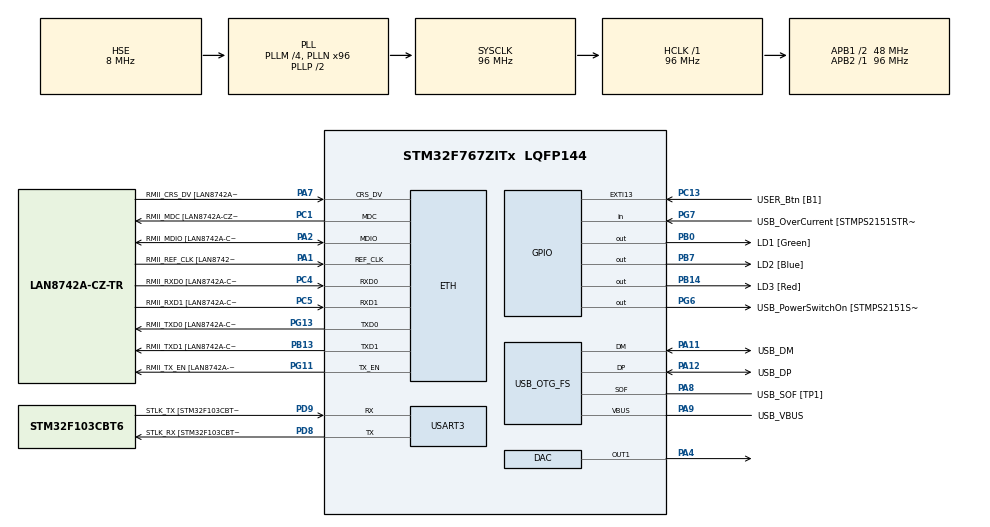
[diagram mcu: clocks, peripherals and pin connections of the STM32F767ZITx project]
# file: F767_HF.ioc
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CORTEX_M7.default_mode_Activation=1
DAC.DAC_Trigger=DAC_TRIGGER_T6_TRGO
Dma.DAC1.0.Direction=DMA_MEMORY_TO_PERIPH
Dma.DAC1.0.FIFOMode=DMA_FIFOMODE_DISABLE
Dma.DAC1.0.Instance=DMA1_Stream5
Dma.DAC1.0.MemDataAlignment=DMA_MDATAALIGN_HALFWORD
Dma.DAC1.0.MemInc=DMA_MINC_ENABLE
Dma.DAC1.0.Mode=DMA_CIRCULAR
Dma.DAC1.0.PeriphDataAlignment=DMA_PDATAALIGN_HALFWORD
Dma.DAC1.0.PeriphInc=DMA_PINC_DISABLE
Dma.DAC1.0.Priority=DMA_PRIORITY_LOW
Dma.Request0=DAC1
ETH.MediaInterface=HAL_ETH_RMII_MODE
ETH.PHY_Name=LAN8742A_PHY_ADDRESS
ETH.PHY_Value=0
ETH.PhyAddress=0
Mcu.Family=STM32F7
Mcu.Name=STM32F767ZITx
Mcu.Package=LQFP144
NVIC.DMA1_Stream5_IRQn=true\:0\:0\:false\:false\:true\:false\:true\:true
NVIC.PriorityGroup=NVIC_PRIORITYGROUP_4
PA1.GPIO_Label=RMII_REF_CLK [LAN8742A-CZ-TR_REFCLK0]
PA1.Mode=RMII
PA1.Signal=ETH_REF_CLK
PA10.GPIO_Label=USB_ID
PA10.Signal=USB_OTG_FS_ID
PA11.GPIO_Label=USB_DM
PA11.Mode=Device_Only
PA11.Signal=USB_OTG_FS_DM
PA12.GPIO_Label=USB_DP
PA12.Mode=Device_Only
PA12.Signal=USB_OTG_FS_DP
PA13.GPIO_Label=TMS
PA13.Mode=Serial_Wire
PA13.Signal=SYS_JTMS-SWDIO
PA14.GPIO_Label=TCK
PA14.Mode=Serial_Wire
PA14.Signal=SYS_JTCK-SWCLK
PA2.GPIO_Label=RMII_MDIO [LAN8742A-CZ-TR_MDIO]
PA2.Mode=RMII
PA2.Signal=ETH_MDIO
PA4.Signal=COMP_DAC1_group
PA7.GPIO_Label=RMII_CRS_DV [LAN8742A-CZ-TR_CRS_DV]
PA7.Mode=RMII
PA7.Signal=ETH_CRS_DV
PA8.GPIO_Label=USB_SOF [TP1]
PA8.Mode=Activate_SOF_FS
PA8.Signal=USB_OTG_FS_SOF
PA9.GPIO_Label=USB_VBUS
PA9.Mode=Activate_VBUS
PA9.Signal=USB_OTG_FS_VBUS
PB0.GPIO_Label=LD1 [Green]
PB0.Signal=GPIO_Output
PB13.GPIO_Label=RMII_TXD1 [LAN8742A-CZ-TR_TXD1]
PB13.Mode=RMII
PB13.Signal=ETH_TXD1
PB14.GPIO_Label=LD3 [Red]
PB14.Signal=GPIO_Output
PB3.GPIO_Label=SWO
PB3.Signal=SYS_JTDO-SWO
PB7.GPIO_Label=LD2 [Blue]
PB7.Signal=GPIO_Output
PC1.GPIO_Label=RMII_MDC [LAN8742A-CZ-TR_MDC]
PC1.Mode=RMII
PC1.Signal=ETH_MDC
PC13.GPIO_Label=USER_Btn [B1]
PC13.Signal=GPXTI13
PC14/OSC32_IN.Mode=LSE-External-Oscillator
PC14/OSC32_IN.Signal=RCC_OSC32_IN
PC15/OSC32_OUT.Mode=LSE-External-Oscillator
PC15/OSC32_OUT.Signal=RCC_OSC32_OUT
PC4.GPIO_Label=RMII_RXD0 [LAN8742A-CZ-TR_RXD0]
PC4.Mode=RMII
PC4.Signal=ETH_RXD0
PC5.GPIO_Label=RMII_RXD1 [LAN8742A-CZ-TR_RXD1]
PC5.Mode=RMII
PC5.Signal=ETH_RXD1
PD8.GPIO_Label=STLK_RX [STM32F103CBT6_PA3]
PD8.Mode=Asynchronous
PD8.Signal=USART3_TX
PD9.GPIO_Label=STLK_TX [STM32F103CBT6_PA2]
PD9.Mode=Asynchronous
PD9.Signal=USART3_RX
PG11.GPIO_Label=RMII_TX_EN [LAN8742A-CZ-TR_TXEN]
PG11.Mode=RMII
PG11.Signal=ETH_TX_EN
PG13.GPIO_Label=RMII_TXD0 [LAN8742A-CZ-TR_TXD0]
PG13.Mode=RMII
PG13.Signal=ETH_TXD0
PG6.GPIO_Label=USB_PowerSwitchOn [STMPS2151STR_EN]
PG6.Signal=GPIO_Output
PG7.GPIO_Label=USB_OverCurrent [STMPS2151STR_FAULT]
PG7.Signal=GPIO_Input
PH0/OSC_IN.GPIO_Label=MCO [STM32F103CBT6_PA8]
PH0/OSC_IN.Mode=HSE-External-Clock-Source
PH0/OSC_IN.Signal=RCC_OSC_IN
PH1/OSC_OUT.Mode=HSE-External-Clock-Source
PH1/OSC_OUT.Signal=RCC_OSC_OUT
ProjectManager.HeapSize=0x200
ProjectManager.StackSize=0x400
ProjectManager.TargetToolchain=STM32CubeIDE
RCC.48MHZClocksFreq_Value=24000000
RCC.AHBFreq_Value=96000000
RCC.APB1CLKDivider=RCC_HCLK_DIV2
RCC.APB1Freq_Value=48000000
RCC.APB1TimFreq_Value=96000000
RCC.APB2Freq_Value=96000000
RCC.APB2TimFreq_Value=96000000
RCC.CortexFreq_Value=96000000
RCC.HCLKFreq_Value=96000000
RCC.HSE_VALUE=8000000
RCC.HSI_VALUE=16000000
RCC.PLLM=4
RCC.PLLMUL=RCC_PLL_MUL9
RCC.PLLN=96
RCC.PLLQ=4
RCC.PRESCALERUSB=RCC_USBCLKSOURCE_PLL_DIV1_5
RCC.SYSCLKFreq_VALUE=96000000
RCC.SYSCLKSource=RCC_SYSCLKSOURCE_PLLCLK
RCC.SYSCLKSourceVirtual=RCC_SYSCLKSOURCE_PLLCLK
RCC.USBFreq_Value=48000000
RCC.VCOOutputFreq_Value=192000000
SH.COMP_DAC1_group.0=DAC_OUT1,DAC_OUT1
TIM6.TIM_MasterOutputTrigger=TIM_TRGO_UPDATE
USART3.VirtualMode-Asynchronous=VM_ASYNC
USB_OTG_FS.VirtualMode=Device_Only
VP_TIM6_VS_ClockSourceINT.Mode=Enable_Timer
board=NUCLEO-F767ZI

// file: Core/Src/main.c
/* USER CODE BEGIN Header */
/* F767_HF */
/**
  ******************************************************************************
  * @file           : main.c
  * @brief          : Main program body
  ******************************************************************************
  * @attention
  *
  * Copyright (c) 2026 STMicroelectronics.
  * All rights reserved.
  *
  * This software is licensed under terms that can be found in the LICENSE file
  * in the root directory of this software component.
  * If no LICENSE file comes with this software, it is provided AS-IS.
  *
  ******************************************************************************
  */
/* USER CODE END Header */
#include "main.h"
#include "string.h"

/* USER CODE BEGIN Includes */
#include <stdint.h>
/* USER CODE END Includes */

/* USER CODE BEGIN PD */
#define LUT_SIZE 64U
/* USER CODE END PD */

#if defined ( __ICCARM__ ) /*!< IAR Compiler */
#pragma location=0x2007c000
ETH_DMADescTypeDef  DMARxDscrTab[ETH_RX_DESC_CNT]; /* Ethernet Rx DMA Descriptors */
#pragma location=0x2007c0a0
ETH_DMADescTypeDef  DMATxDscrTab[ETH_TX_DESC_CNT]; /* Ethernet Tx DMA Descriptors */

#elif defined ( __CC_ARM )  /* MDK ARM Compiler */

__attribute__((at(0x2007c000))) ETH_DMADescTypeDef  DMARxDscrTab[ETH_RX_DESC_CNT]; /* Ethernet Rx DMA Descriptors */
__attribute__((at(0x2007c0a0))) ETH_DMADescTypeDef  DMATxDscrTab[ETH_TX_DESC_CNT]; /* Ethernet Tx DMA Descriptors */

#elif defined ( __GNUC__ ) /* GNU Compiler */

ETH_DMADescTypeDef DMARxDscrTab[ETH_RX_DESC_CNT] __attribute__((section(".RxDecripSection"))); /* Ethernet Rx DMA Descriptors */
ETH_DMADescTypeDef DMATxDscrTab[ETH_TX_DESC_CNT] __attribute__((section(".TxDecripSection")));   /* Ethernet Tx DMA Descriptors */
#endif

ETH_TxPacketConfig TxConfig;

DAC_HandleTypeDef hdac;
DMA_HandleTypeDef hdma_dac1;

ETH_HandleTypeDef heth;

TIM_HandleTypeDef htim6;

UART_HandleTypeDef huart3;

PCD_HandleTypeDef hpcd_USB_OTG_FS;

/* USER CODE BEGIN PV */
static uint32_t g_tone_hz = 46000U;   // <== change here to 30000/31000/45000/46000

// 64-point sine LUT (12-bit 0..4095), center at 2048
static const uint16_t sineLUT[LUT_SIZE] = {
  2048,2249,2447,2642,2831,3013,3185,3346,
  3495,3630,3750,3853,3939,4007,4056,4085,
  4095,4085,4056,4007,3939,3853,3750,3630,
  3495,3346,3185,3013,2831,2642,2447,2249,
  2048,1846,1648,1453,1264,1082, 910, 749,
   600, 465, 345, 242, 156,  88,  39,  10,
     0,  10,  39,  88, 156, 242, 345, 465,
   600, 749, 910,1082,1264,1453,1648,1846
};

static uint32_t tim6_clk_hz = 0;
/* USER CODE END PV */

void SystemClock_Config(void);
static void MPU_Config(void);
static void MX_GPIO_Init(void);
static void MX_DMA_Init(void);
static void MX_DAC_Init(void);
static void MX_ETH_Init(void);
static void MX_TIM6_Init(void);
static void MX_USART3_UART_Init(void);
static void MX_USB_OTG_FS_PCD_Init(void);

/* USER CODE BEGIN 0 */
static uint32_t get_tim6_clock_hz(void)
{
  // TIM6 on APB1
  uint32_t pclk1 = HAL_RCC_GetPCLK1Freq();
  uint32_t ppre1 = (RCC->CFGR >> RCC_CFGR_PPRE1_Pos) & 0x7U;

  // if APB1 prescaler != 1 => timer clk = 2*PCLK1
  if (ppre1 >= 4U) return pclk1 * 2U;
  else             return pclk1;
} // end function get_tim6_clock_hz

static void set_tone_freq_hz(uint32_t f_out_hz)
{
  // TIM6 update rate must be f_out * LUT_SIZE
  uint32_t targer_update = f_out_hz * LUT_SIZE;
  if (targer_update  == 0U || tim6_clk_hz == 0U) return;

  uint32_t div = tim6_clk_hz / targer_update;
  if (div == 0U) div = 1U;

  uint32_t arr = div - 1U;
  if (arr > 0xFFFFU) arr = 0xFFFFU;

  __HAL_TIM_SET_AUTORELOAD(&htim6 , (uint16_t)arr);
  __HAL_TIM_SET_COUNTER(&htim6 , 0U);
} // end function set_tone_freq_hz
/* USER CODE END 0 */

int main(void)
{

  /* MPU Configuration--------------------------------------------------------*/
  MPU_Config();

  /* MCU Configuration--------------------------------------------------------*/

  /* Reset of all peripherals, Initializes the Flash interface and the Systick. */
  HAL_Init();

  /* Configure the system clock */
  SystemClock_Config();

  /* Initialize all configured peripherals */
  MX_GPIO_Init();
  MX_DMA_Init();
  MX_DAC_Init();
  MX_ETH_Init();
  MX_TIM6_Init();
  MX_USART3_UART_Init();
  MX_USB_OTG_FS_PCD_Init();
  /* USER CODE BEGIN 2 */
  tim6_clk_hz = get_tim6_clock_hz();

  // Start DAC DMA (circular LUT)
  HAL_DAC_Start(&hdac , DAC1_CHANNEL_1);
  HAL_DAC_Start_DMA(&hdac , DAC1_CHANNEL_1 , (uint32_t*)sineLUT , LUT_SIZE , DAC_ALIGN_12B_R);

  // Set tone frequency and start TIM6 triggers
  set_tone_freq_hz(g_tone_hz);
  HAL_TIM_Base_Start(&htim6);
  /* USER CODE END 2 */

  /* Infinite loop */
  while (1)
  {

  }
}

void SystemClock_Config(void)
{
  RCC_OscInitTypeDef RCC_OscInitStruct = {0};
  RCC_ClkInitTypeDef RCC_ClkInitStruct = {0};

  /** Configure LSE Drive Capability
  */
  HAL_PWR_EnableBkUpAccess();

  /** Configure the main internal regulator output voltage
  */
  __HAL_RCC_PWR_CLK_ENABLE();
  __HAL_PWR_VOLTAGESCALING_CONFIG(PWR_REGULATOR_VOLTAGE_SCALE3);

  /** Initializes the RCC Oscillators according to the specified parameters
  * in the RCC_OscInitTypeDef structure.
  */
  RCC_OscInitStruct.OscillatorType = RCC_OSCILLATORTYPE_HSE;
  RCC_OscInitStruct.HSEState = RCC_HSE_BYPASS;
  RCC_OscInitStruct.PLL.PLLState = RCC_PLL_ON;
  RCC_OscInitStruct.PLL.PLLSource = RCC_PLLSOURCE_HSE;
  RCC_OscInitStruct.PLL.PLLM = 4;
  RCC_OscInitStruct.PLL.PLLN = 96;
  RCC_OscInitStruct.PLL.PLLP = RCC_PLLP_DIV2;
  RCC_OscInitStruct.PLL.PLLQ = 4;
  RCC_OscInitStruct.PLL.PLLR = 2;
  if (HAL_RCC_OscConfig(&RCC_OscInitStruct) != HAL_OK)
  {
    Error_Handler();
  }

  /** Activate the Over-Drive mode
  */
  if (HAL_PWREx_EnableOverDrive() != HAL_OK)
  {
    Error_Handler();
  }

  /** Initializes the CPU, AHB and APB buses clocks
  */
  RCC_ClkInitStruct.ClockType = RCC_CLOCKTYPE_HCLK|RCC_CLOCKTYPE_SYSCLK
                              |RCC_CLOCKTYPE_PCLK1|RCC_CLOCKTYPE_PCLK2;
  RCC_ClkInitStruct.SYSCLKSource = RCC_SYSCLKSOURCE_PLLCLK;
  RCC_ClkInitStruct.AHBCLKDivider = RCC_SYSCLK_DIV1;
  RCC_ClkInitStruct.APB1CLKDivider = RCC_HCLK_DIV2;
  RCC_ClkInitStruct.APB2CLKDivider = RCC_HCLK_DIV1;

  if (HAL_RCC_ClockConfig(&RCC_ClkInitStruct, FLASH_LATENCY_3) != HAL_OK)
  {
    Error_Handler();
  }
}

static void MX_DAC_Init(void)
{

  DAC_ChannelConfTypeDef sConfig = {0};

  /** DAC Initialization
  */
  hdac.Instance = DAC;
  if (HAL_DAC_Init(&hdac) != HAL_OK)
  {
    Error_Handler();
  }

  /** DAC channel OUT1 config
  */
  sConfig.DAC_Trigger = DAC_TRIGGER_T6_TRGO;
  sConfig.DAC_OutputBuffer = DAC_OUTPUTBUFFER_ENABLE;
  if (HAL_DAC_ConfigChannel(&hdac, &sConfig, DAC_CHANNEL_1) != HAL_OK)
  {
    Error_Handler();
  }

}

static void MX_ETH_Init(void)
{

   static uint8_t MACAddr[6];

  heth.Instance = ETH;
  MACAddr[0] = 0x00;
  MACAddr[1] = 0x80;
  MACAddr[2] = 0xE1;
  MACAddr[3] = 0x00;
  MACAddr[4] = 0x00;
  MACAddr[5] = 0x00;
  heth.Init.MACAddr = &MACAddr[0];
  heth.Init.MediaInterface = HAL_ETH_RMII_MODE;
  heth.Init.TxDesc = DMATxDscrTab;
  heth.Init.RxDesc = DMARxDscrTab;
  heth.Init.RxBuffLen = 1524;

  if (HAL_ETH_Init(&heth) != HAL_OK)
  {
    Error_Handler();
  }

  memset(&TxConfig, 0 , sizeof(ETH_TxPacketConfig));
  TxConfig.Attributes = ETH_TX_PACKETS_FEATURES_CSUM | ETH_TX_PACKETS_FEATURES_CRCPAD;
  TxConfig.ChecksumCtrl = ETH_CHECKSUM_IPHDR_PAYLOAD_INSERT_PHDR_CALC;
  TxConfig.CRCPadCtrl = ETH_CRC_PAD_INSERT;

}

static void MX_TIM6_Init(void)
{

  TIM_MasterConfigTypeDef sMasterConfig = {0};

  htim6.Instance = TIM6;
  htim6.Init.Prescaler = 0;
  htim6.Init.CounterMode = TIM_COUNTERMODE_UP;
  htim6.Init.Period = 65535;
  htim6.Init.AutoReloadPreload = TIM_AUTORELOAD_PRELOAD_DISABLE;
  if (HAL_TIM_Base_Init(&htim6) != HAL_OK)
  {
    Error_Handler();
  }
  sMasterConfig.MasterOutputTrigger = TIM_TRGO_UPDATE;
  sMasterConfig.MasterSlaveMode = TIM_MASTERSLAVEMODE_DISABLE;
  if (HAL_TIMEx_MasterConfigSynchronization(&htim6, &sMasterConfig) != HAL_OK)
  {
    Error_Handler();
  }

}

static void MX_USART3_UART_Init(void)
{

  huart3.Instance = USART3;
  huart3.Init.BaudRate = 115200;
  huart3.Init.WordLength = UART_WORDLENGTH_8B;
  huart3.Init.StopBits = UART_STOPBITS_1;
  huart3.Init.Parity = UART_PARITY_NONE;
  huart3.Init.Mode = UART_MODE_TX_RX;
  huart3.Init.HwFlowCtl = UART_HWCONTROL_NONE;
  huart3.Init.OverSampling = UART_OVERSAMPLING_16;
  huart3.Init.OneBitSampling = UART_ONE_BIT_SAMPLE_DISABLE;
  huart3.AdvancedInit.AdvFeatureInit = UART_ADVFEATURE_NO_INIT;
  if (HAL_UART_Init(&huart3) != HAL_OK)
  {
    Error_Handler();
  }

}

static void MX_USB_OTG_FS_PCD_Init(void)
{

  hpcd_USB_OTG_FS.Instance = USB_OTG_FS;
  hpcd_USB_OTG_FS.Init.dev_endpoints = 6;
  hpcd_USB_OTG_FS.Init.speed = PCD_SPEED_FULL;
  hpcd_USB_OTG_FS.Init.dma_enable = DISABLE;
  hpcd_USB_OTG_FS.Init.phy_itface = PCD_PHY_EMBEDDED;
  hpcd_USB_OTG_FS.Init.Sof_enable = ENABLE;
  hpcd_USB_OTG_FS.Init.low_power_enable = DISABLE;
  hpcd_USB_OTG_FS.Init.lpm_enable = DISABLE;
  hpcd_USB_OTG_FS.Init.vbus_sensing_enable = ENABLE;
  hpcd_USB_OTG_FS.Init.use_dedicated_ep1 = DISABLE;
  if (HAL_PCD_Init(&hpcd_USB_OTG_FS) != HAL_OK)
  {
    Error_Handler();
  }

}

static void MX_DMA_Init(void)
{

  /* DMA controller clock enable */
  __HAL_RCC_DMA1_CLK_ENABLE();

  /* DMA interrupt init */
  /* DMA1_Stream5_IRQn interrupt configuration */
  HAL_NVIC_SetPriority(DMA1_Stream5_IRQn, 0, 0);
  HAL_NVIC_EnableIRQ(DMA1_Stream5_IRQn);

}

static void MX_GPIO_Init(void)
{
  GPIO_InitTypeDef GPIO_InitStruct = {0};

  /* GPIO Ports Clock Enable */
  __HAL_RCC_GPIOC_CLK_ENABLE();
  __HAL_RCC_GPIOH_CLK_ENABLE();
  __HAL_RCC_GPIOA_CLK_ENABLE();
  __HAL_RCC_GPIOB_CLK_ENABLE();
  __HAL_RCC_GPIOD_CLK_ENABLE();
  __HAL_RCC_GPIOG_CLK_ENABLE();

  /*Configure GPIO pin Output Level */
  HAL_GPIO_WritePin(GPIOB, LD1_Pin|LD3_Pin|LD2_Pin, GPIO_PIN_RESET);

  /*Configure GPIO pin Output Level */
  HAL_GPIO_WritePin(USB_PowerSwitchOn_GPIO_Port, USB_PowerSwitchOn_Pin, GPIO_PIN_RESET);

  /*Configure GPIO pin : USER_Btn_Pin */
  GPIO_InitStruct.Pin = USER_Btn_Pin;
  GPIO_InitStruct.Mode = GPIO_MODE_IT_RISING;
  GPIO_InitStruct.Pull = GPIO_NOPULL;
  HAL_GPIO_Init(USER_Btn_GPIO_Port, &GPIO_InitStruct);

  /*Configure GPIO pins : LD1_Pin LD3_Pin LD2_Pin */
  GPIO_InitStruct.Pin = LD1_Pin|LD3_Pin|LD2_Pin;
  GPIO_InitStruct.Mode = GPIO_MODE_OUTPUT_PP;
  GPIO_InitStruct.Pull = GPIO_NOPULL;
  GPIO_InitStruct.Speed = GPIO_SPEED_FREQ_LOW;
  HAL_GPIO_Init(GPIOB, &GPIO_InitStruct);

  /*Configure GPIO pin : USB_PowerSwitchOn_Pin */
  GPIO_InitStruct.Pin = USB_PowerSwitchOn_Pin;
  GPIO_InitStruct.Mode = GPIO_MODE_OUTPUT_PP;
  GPIO_InitStruct.Pull = GPIO_NOPULL;
  GPIO_InitStruct.Speed = GPIO_SPEED_FREQ_LOW;
  HAL_GPIO_Init(USB_PowerSwitchOn_GPIO_Port, &GPIO_InitStruct);

  /*Configure GPIO pin : USB_OverCurrent_Pin */
  GPIO_InitStruct.Pin = USB_OverCurrent_Pin;
  GPIO_InitStruct.Mode = GPIO_MODE_INPUT;
  GPIO_InitStruct.Pull = GPIO_NOPULL;
  HAL_GPIO_Init(USB_OverCurrent_GPIO_Port, &GPIO_InitStruct);

}

 /* MPU Configuration */

void MPU_Config(void)
{
  MPU_Region_InitTypeDef MPU_InitStruct = {0};

  /* Disables the MPU */
  HAL_MPU_Disable();

  /** Initializes and configures the Region and the memory to be protected
  */
  MPU_InitStruct.Enable = MPU_REGION_ENABLE;
  MPU_InitStruct.Number = MPU_REGION_NUMBER0;
  MPU_InitStruct.BaseAddress = 0x0;
  MPU_InitStruct.Size = MPU_REGION_SIZE_4GB;
  MPU_InitStruct.SubRegionDisable = 0x87;
  MPU_InitStruct.TypeExtField = MPU_TEX_LEVEL0;
  MPU_InitStruct.AccessPermission = MPU_REGION_NO_ACCESS;
  MPU_InitStruct.DisableExec = MPU_INSTRUCTION_ACCESS_DISABLE;
  MPU_InitStruct.IsShareable = MPU_ACCESS_SHAREABLE;
  MPU_InitStruct.IsCacheable = MPU_ACCESS_NOT_CACHEABLE;
  MPU_InitStruct.IsBufferable = MPU_ACCESS_NOT_BUFFERABLE;

  HAL_MPU_ConfigRegion(&MPU_InitStruct);
  /* Enables the MPU */
  HAL_MPU_Enable(MPU_PRIVILEGED_DEFAULT);

}

void Error_Handler(void)
{
  __disable_irq();
  while (1)
  {
  }
}
